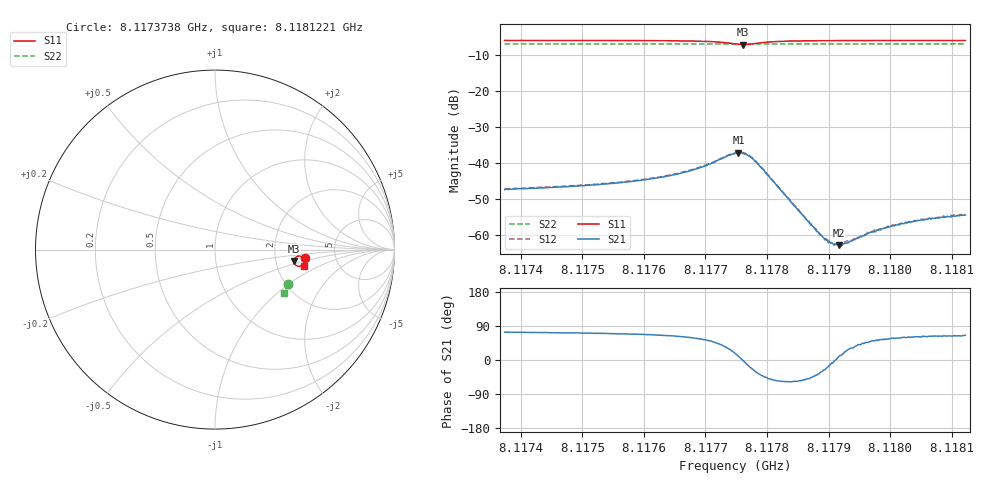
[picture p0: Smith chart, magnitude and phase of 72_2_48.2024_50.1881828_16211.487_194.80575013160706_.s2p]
#  HZ  S  RI  R  50.00
! Rohde & Schwarz Vector Network Analyzer
! Rohde-Schwarz,ZNB20-2Port,1311601062101988,3.16
! Created: UTC 3/20/2024, 11:39:13 AM
! freq[Hz]  re:S11  im:S11  re:S21  im:S21  re:S12  im:S12  re:S22  im:S22
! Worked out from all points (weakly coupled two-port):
!   401 points, 8.1173738 GHz to 8.1181221 GHz, reference 50 ohm
!   highest |S21| = -37.04 dB at 8.1177535 GHz (marker M1); lowest = -62.7 dB at 8.1179163 GHz (marker M2)
!   lowest |S11| = -7.1 dB at 8.117761 GHz (marker M3), VSWR 2.60, Z = 126 - j19.9 ohm
!   |S11| at or under -10 dB: nowhere
!   |S22| runs from -6.9 to -6.9 dB; largest |S21 - S12| = 0.00052
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8.11737377e9  0.5034 -0.0468  0.00125 0.00414  0.00131 0.00426  0.4081 -0.1939
8.11749911e9  0.5014 -0.0585  0.00162 0.00464  0.00166 0.00472  0.4046 -0.2021
8.11756084e9  0.4997 -0.0652  0.00192 0.00503  0.00195 0.00513  0.4027 -0.2059
8.11762445e9  0.4966 -0.0739  0.00265 0.00577  0.00269 0.00586  0.4006 -0.2101
8.11768244e9  0.4887 -0.0849  0.00439 0.00699  0.00453 0.00705  0.3984 -0.2141
8.11774791e9  0.4462 -0.0829  0.0131 0.00416  0.0134 0.00409  0.3947 -0.2173
8.11775353e9  0.4416 -0.0756  0.0139 0.00235  0.014 0.00228  0.3943 -0.2172
8.11776101e9  0.4396 -0.0633  0.0138 -0.000408  0.0141 -0.00062  0.3941 -0.2172
8.11777223e9  0.4465 -0.046  0.0117 -0.00407  0.0119 -0.00421  0.3944 -0.2171
8.11778346e9  0.46 -0.0373  0.00856 -0.00564  0.00848 -0.00583  0.3948 -0.2177
8.11781713e9  0.4874 -0.0434  0.00275 -0.00389  0.00276 -0.00402  0.3948 -0.2201
8.11787325e9  0.4972 -0.0598  0.00096 -0.000972  0.000958 -0.000968  0.3934 -0.2244
8.11789009e9  0.4979 -0.0632  0.000833 -0.000471  0.000824 -0.000483  0.3929 -0.2254
8.11789944e9  0.4982 -0.0649  0.000756 -0.000241  0.000841 -0.000298  0.3926 -0.2261
8.11790693e9  0.4983 -0.0662  0.000763 -0.00011  0.000783 -9.05e-05  0.3924 -0.2267
8.11791628e9  0.4985 -0.0677  0.000722 0.000111  0.000744 8.82e-05  0.392 -0.2273
8.11792376e9  0.4987 -0.0689  0.000731 0.000218  0.00073 0.000195  0.3918 -0.2278
8.11793312e9  0.4987 -0.0703  0.000707 0.000389  0.000785 0.000361  0.3916 -0.2283
8.11796492e9  0.4985 -0.0745  0.000727 0.000796  0.000762 0.000773  0.3904 -0.2304
8.11799859e9  0.4985 -0.0784  0.000719 0.00109  0.000788 0.00112  0.3894 -0.2325
8.11804723e9  0.4979 -0.0833  0.000777 0.00142  0.000797 0.00148  0.3876 -0.2356
8.11812206e9  0.4968 -0.0903  0.000796 0.00175  0.000856 0.00176  0.3852 -0.2403
